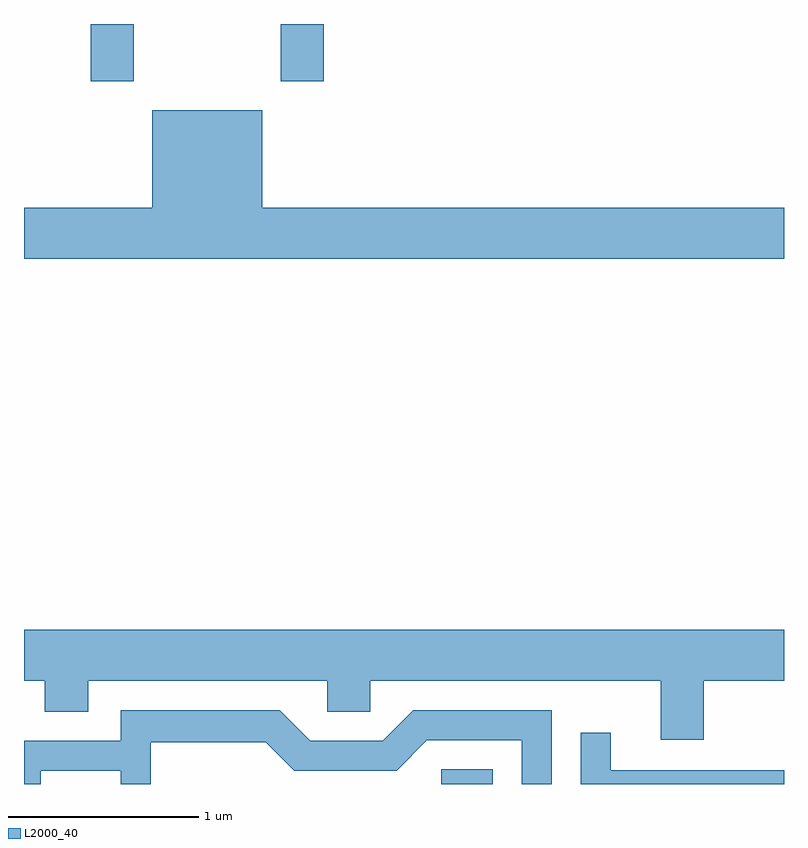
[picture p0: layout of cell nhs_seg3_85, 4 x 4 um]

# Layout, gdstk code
import gdstk
lib = gdstk.Library(unit=1e-6, precision=1e-09)
def R(c, l, rs):  # rectangles x0, y0, x1, y1
    for r in rs: c.add(gdstk.rectangle(r[:2], r[2:], *l))
def P(c, l, *ps):  # polygons
    for p in ps: c.add(gdstk.Polygon(p, *l))
L2000_40 = (2000, 40)

nhs_seg3_85 = lib.new_cell('nhs_seg3_85')
R(nhs_seg3_85, L2000_40, [(189.808,1149.892,190.079,1149.969), (187.961,1153.591,188.189,1153.892), (188.961,1153.591,189.189,1153.892)])
P(nhs_seg3_85, L2000_40, [(191.611,1152.924),(188.864,1152.924),(188.864,1153.439),(188.286,1153.439),(188.286,1152.924),(187.611,1152.924),(187.611,1152.656),(191.611,1152.656)],
  [(191.189,1150.436),(191.611,1150.436),(191.611,1150.704),(187.611,1150.704),(187.611,1150.436),(187.721,1150.436),(187.721,1150.271),(187.949,1150.271),(187.949,1150.436),(189.206,1150.436),(189.206,1150.271),(189.434,1150.271),(189.434,1150.436),(190.961,1150.436),(190.961,1150.126),(191.189,1150.126)],
  [(187.699,1149.961),(188.121,1149.961),(188.121,1149.892),(188.279,1149.892),(188.279,1150.111),(188.884,1150.111),(189.034,1149.961),(189.572,1149.961),(189.732,1150.121),(190.231,1150.121),(190.231,1149.892),(190.389,1149.892),(190.389,1150.279),(189.659,1150.279),(189.499,1150.119),(189.117,1150.119),(188.957,1150.279),(188.121,1150.279),(188.121,1150.119),(187.611,1150.119),(187.611,1149.892),(187.699,1149.892)],
  [(191.611,1149.964),(190.699,1149.964),(190.699,1150.163),(190.541,1150.163),(190.541,1149.892),(191.611,1149.892)])

lib.write_gds('nhs_seg3_85.gds')
